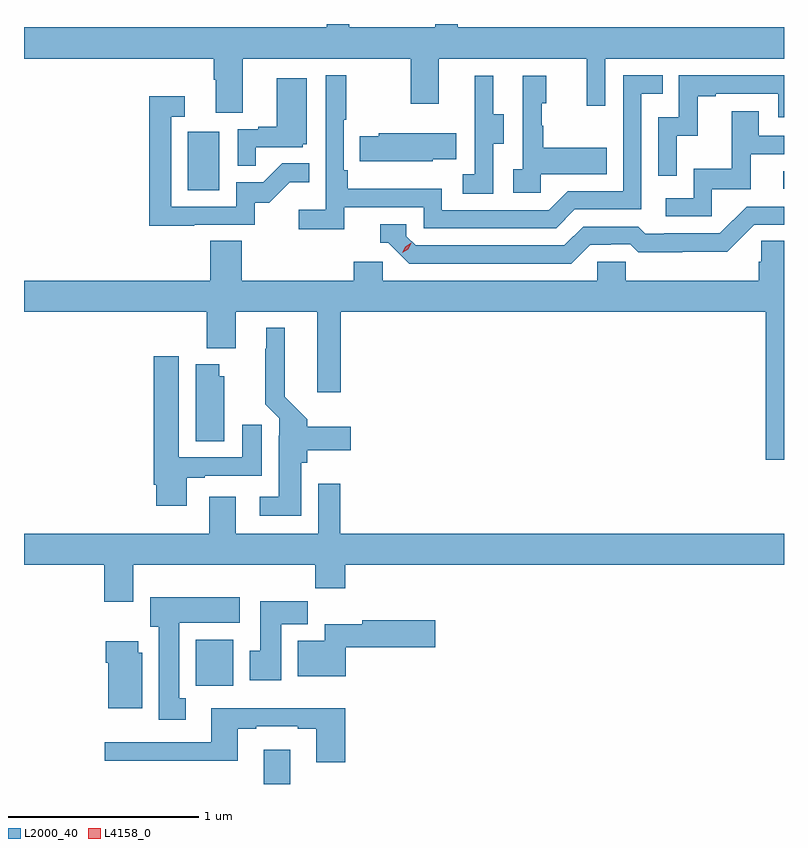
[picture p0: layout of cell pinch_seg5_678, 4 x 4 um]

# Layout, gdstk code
import gdstk
lib = gdstk.Library(unit=1e-6, precision=1e-09)
def R(c, l, rs):  # rectangles x0, y0, x1, y1
    for r in rs: c.add(gdstk.rectangle(r[:2], r[2:], *l))
def P(c, l, *ps):  # polygons
    for p in ps: c.add(gdstk.Polygon(p, *l))
L2000_40 = (2000, 40)
L4158_0 = (4158, 0)

pinch_seg5_678 = lib.new_cell('pinch_seg5_678')
R(pinch_seg5_678, L2000_40, [(1129.421,847.614,1129.561,847.795), (1129.064,848.132,1129.261,848.374), (1129.022,850.74,1129.186,851.047), (1132.155,850.746,1132.159,850.839)])
P(pinch_seg5_678, L2000_40, [(1129.309,851.432),(1130.194,851.432),(1130.194,851.193),(1130.341,851.193),(1130.341,851.432),(1131.122,851.432),(1131.122,851.184),(1131.219,851.184),(1131.219,851.432),(1132.159,851.432),(1132.159,851.596),(1130.441,851.596),(1130.441,851.614),(1130.324,851.614),(1130.324,851.596),(1129.871,851.596),(1129.871,851.614),(1129.753,851.614),(1129.753,851.596),(1128.159,851.596),(1128.159,851.432),(1129.157,851.432),(1129.157,851.32),(1129.169,851.32),(1129.169,851.146),(1129.309,851.146)],
  [(1129.844,850.65),(1130.262,850.65),(1130.262,850.539),(1130.959,850.539),(1131.058,850.638),(1131.408,850.638),(1131.408,851.247),(1131.521,851.247),(1131.521,851.343),(1131.312,851.343),(1131.312,850.734),(1131.021,850.734),(1130.922,850.635),(1130.358,850.635),(1130.358,850.747),(1129.862,850.747),(1129.862,850.843),(1129.842,850.843),(1129.842,851.11),(1129.855,851.11),(1129.855,851.344),(1129.746,851.344),(1129.746,850.636),(1129.605,850.636),(1129.605,850.534),(1129.844,850.534)],
  [(1131.594,851.027),(1131.704,851.027),(1131.704,851.235),(1131.799,851.235),(1131.799,851.247),(1132.128,851.247),(1132.128,851.124),(1132.159,851.124),(1132.159,851.343),(1131.606,851.343),(1131.606,851.124),(1131.498,851.124),(1131.498,850.815),(1131.594,850.815)],
  [(1130.88,850.823),(1131.227,850.823),(1131.227,850.963),(1130.893,850.963),(1130.893,851.078),(1130.883,851.078),(1130.883,851.196),(1130.908,851.196),(1130.908,851.341),(1130.784,851.341),(1130.784,850.85),(1130.733,850.85),(1130.733,850.725),(1130.88,850.725)],
  [(1130.628,850.984),(1130.683,850.984),(1130.683,851.139),(1130.629,851.139),(1130.629,851.341),(1130.531,851.341),(1130.531,851.127),(1130.532,851.127),(1130.532,850.823),(1130.469,850.823),(1130.469,850.72),(1130.628,850.72)],
  [(1129.379,850.965),(1129.626,850.965),(1129.626,850.98),(1129.648,850.98),(1129.648,851.329),(1129.49,851.329),(1129.49,851.074),(1129.391,851.074),(1129.391,851.061),(1129.284,851.061),(1129.284,850.867),(1129.379,850.867)],
  [(1129.055,850.557),(1129.374,850.557),(1129.374,850.674),(1129.45,850.674),(1129.557,850.781),(1129.661,850.781),(1129.661,850.88),(1129.517,850.88),(1129.419,850.782),(1129.275,850.782),(1129.275,850.653),(1128.933,850.653),(1128.933,851.127),(1129.006,851.127),(1129.006,851.233),(1128.817,851.233),(1128.817,850.552),(1129.055,850.552)],
  [(1131.78,850.743),(1131.985,850.743),(1131.985,850.929),(1132.159,850.929),(1132.159,851.025),(1132.027,851.025),(1132.027,851.155),(1131.883,851.155),(1131.883,850.852),(1131.684,850.852),(1131.684,850.698),(1131.537,850.698),(1131.537,850.602),(1131.78,850.602)],
  [(1130.31,850.901),(1130.435,850.901),(1130.435,851.038),(1130.025,851.038),(1130.025,851.022),(1129.927,851.022),(1129.927,850.892),(1130.31,850.892)],
  [(1131.139,850.452),(1131.246,850.452),(1131.246,850.455),(1131.349,850.455),(1131.391,850.413),(1131.624,850.413),(1131.624,850.415),(1131.86,850.415),(1132.002,850.557),(1132.159,850.557),(1132.159,850.653),(1131.963,850.653),(1131.822,850.512),(1131.529,850.512),(1131.529,850.509),(1131.43,850.509),(1131.391,850.548),(1131.102,850.548),(1131.003,850.449),(1130.22,850.449),(1130.172,850.497),(1130.172,850.56),(1130.033,850.56),(1130.033,850.464),(1130.076,850.464),(1130.187,850.353),(1131.04,850.353)],
  [(1132.159,850.472),(1132.039,850.472),(1132.039,850.362),(1132.025,850.362),(1132.025,850.264),(1131.327,850.264),(1131.327,850.362),(1131.177,850.362),(1131.177,850.264),(1130.046,850.264),(1130.046,850.362),(1129.895,850.362),(1129.895,850.264),(1129.304,850.264),(1129.304,850.472),(1129.139,850.472),(1129.139,850.264),(1128.159,850.264),(1128.159,850.1),(1129.121,850.1),(1129.121,849.908),(1129.273,849.908),(1129.273,850.1),(1129.703,850.1),(1129.703,849.675),(1129.826,849.675),(1129.826,850.1),(1132.064,850.1),(1132.064,849.321),(1132.159,849.321)],
  [(1129.618,849.306),(1129.649,849.306),(1129.649,849.371),(1129.879,849.371),(1129.879,849.493),(1129.649,849.493),(1129.649,849.534),(1129.531,849.652),(1129.531,850.015),(1129.433,850.015),(1129.433,849.905),(1129.429,849.905),(1129.429,849.614),(1129.503,849.54),(1129.503,849.446),(1129.499,849.446),(1129.499,849.127),(1129.401,849.127),(1129.401,849.026),(1129.618,849.026)],
  [(1129.015,849.225),(1129.111,849.225),(1129.111,849.237),(1129.411,849.237),(1129.411,849.505),(1129.307,849.505),(1129.307,849.333),(1128.973,849.333),(1128.973,849.865),(1128.842,849.865),(1128.842,849.19),(1128.854,849.19),(1128.854,849.078),(1129.015,849.078)],
  [(1129.213,849.759),(1129.186,849.759),(1129.186,849.823),(1129.064,849.823),(1129.064,849.418),(1129.213,849.418)],
  [(1128.733,848.768),(1129.693,848.768),(1129.693,848.644),(1129.85,848.644),(1129.85,848.768),(1132.159,848.768),(1132.159,848.932),(1129.823,848.932),(1129.823,849.193),(1129.707,849.193),(1129.707,848.932),(1129.273,848.932),(1129.273,849.127),(1129.133,849.127),(1129.133,848.932),(1128.159,848.932),(1128.159,848.768),(1128.581,848.768),(1128.581,848.574),(1128.733,848.574)],
  [(1129.009,848.066),(1128.976,848.066),(1128.976,848.462),(1129.294,848.462),(1129.294,848.596),(1128.824,848.596),(1128.824,848.442),(1128.869,848.442),(1128.869,847.953),(1129.009,847.953)],
  [(1129.513,848.456),(1129.652,848.456),(1129.652,848.575),(1129.403,848.575),(1129.403,848.316),(1129.346,848.316),(1129.346,848.16),(1129.513,848.16)],
  [(1129.852,848.333),(1130.323,848.333),(1130.323,848.475),(1129.938,848.475),(1129.938,848.455),(1129.742,848.455),(1129.742,848.368),(1129.601,848.368),(1129.601,848.18),(1129.852,848.18)],
  [(1128.781,848.304),(1128.76,848.304),(1128.76,848.365),(1128.59,848.365),(1128.59,848.252),(1128.602,848.252),(1128.602,848.012),(1128.781,848.012)],
  [(1129.85,848.014),(1129.145,848.014),(1129.145,847.833),(1128.585,847.833),(1128.585,847.736),(1129.285,847.736),(1129.285,847.905),(1129.381,847.905),(1129.381,847.917),(1129.601,847.917),(1129.601,847.905),(1129.697,847.905),(1129.697,847.728),(1129.85,847.728)])
P(pinch_seg5_678, L4158_0, [(1130.15,850.41),(1130.15,850.41),(1130.166,850.442),(1130.197,850.462),(1130.198,850.462),(1130.198,850.462),(1130.181,850.429),(1130.15,850.41)])

lib.write_gds('pinch_seg5_678.gds')
